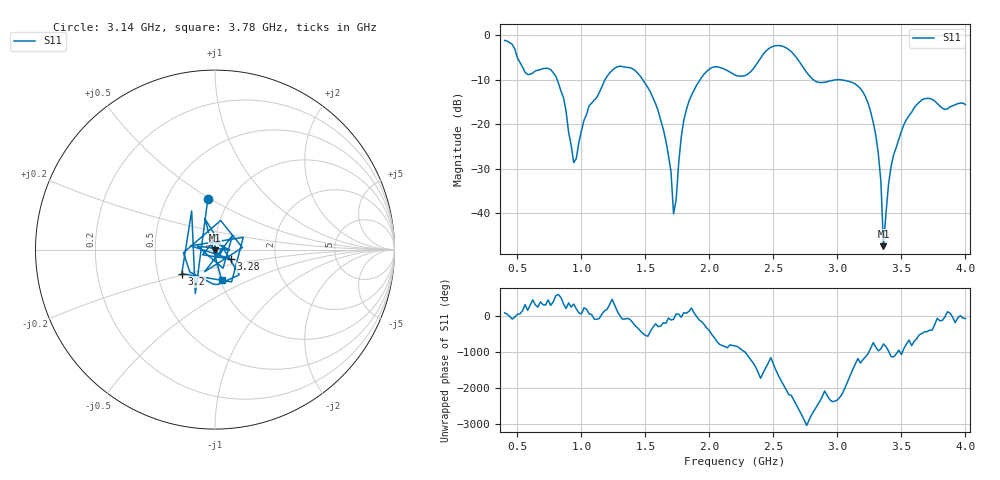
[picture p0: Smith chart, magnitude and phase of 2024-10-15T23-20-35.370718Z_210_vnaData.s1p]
! Created with skrf (http://scikit-rf.org).
# Hz S RI R 50.0
!freq ReS11 ImS11
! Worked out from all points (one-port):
!   181 points, 400 MHz to 4 GHz, reference 50 ohm
!   lowest |S11| = -47.4 dB at 3.36 GHz (marker M1), VSWR 1.01, Z = 50.2 - j0.395 ohm
!   |S11| at or under -10 dB: 810.3 MHz to 1.185 GHz (374.9 MHz wide, 37.6 % of centre); 1.479 GHz to 1.928 GHz (448.7 MHz wide, 26.3 % of centre); 2.812 GHz to end of sweep
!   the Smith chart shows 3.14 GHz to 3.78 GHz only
!   S11 on the Smith chart (normalised r, x): 3.14 GHz: 0.79, +0.48; 3.2 GHz: 0.67, -0.19; 3.28 GHz: 1.19, -0.13; 3.78 GHz: 1.02, -0.35
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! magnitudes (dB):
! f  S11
! 400 MHz  -1.2
! 580 MHz  -8.8
! 760 MHz  -7.7
! 860 MHz  -14.0
! 940 MHz  -28.6
! 1.06 GHz  -15.8
! 1.3 GHz  -7.0
! 1.58 GHz  -15.4
! 1.68 GHz  -27.1
! 1.7 GHz  -30.7
! 1.72 GHz  -40.1
! 1.76 GHz  -28.7
! 1.82 GHz  -16.8
! 1.92 GHz  -10.3
! 2.2 GHz  -9.0
! 2.5 GHz  -2.5
! 2.66 GHz  -4.3
! 2.84 GHz  -10.5
! 3.1 GHz  -10.5
! 3.14 GHz  -11.0
! 3.2 GHz  -12.8
! 3.28 GHz  -19.6
! 3.34 GHz  -33.0
! 3.36 GHz  -47.4
! 3.42 GHz  -29.4
! 3.56 GHz  -18.1
! 3.78 GHz  -15.3
! 4 GHz  -15.6
